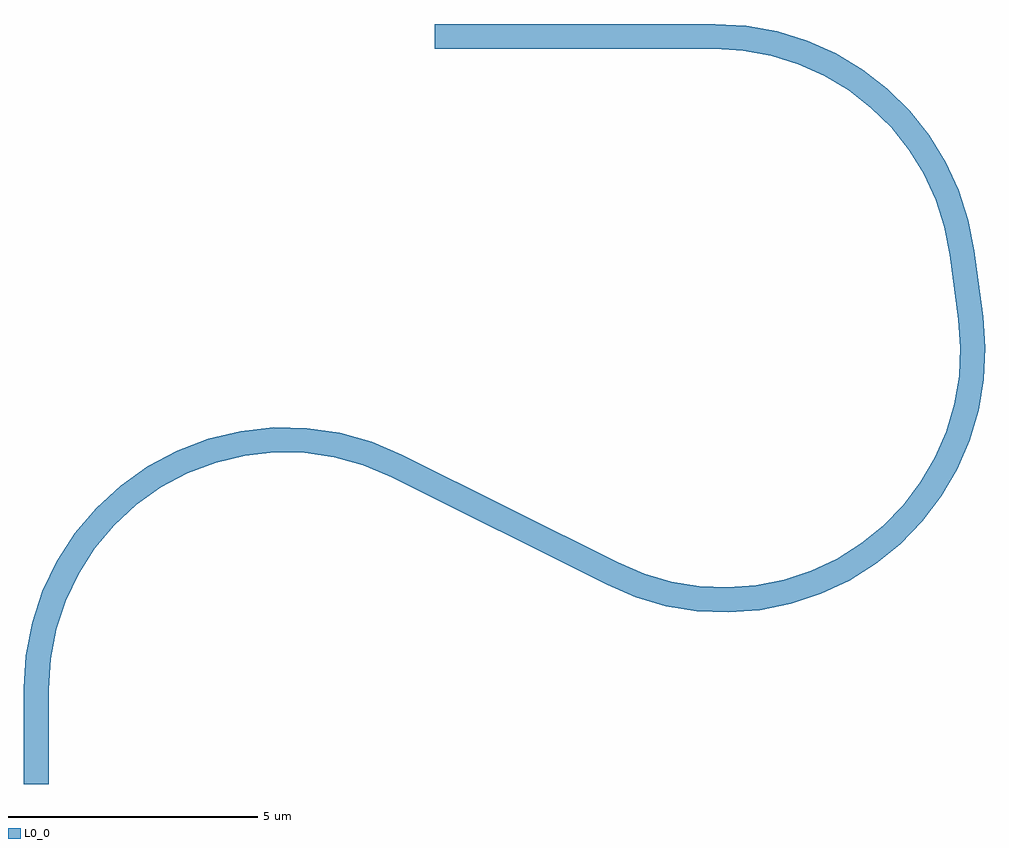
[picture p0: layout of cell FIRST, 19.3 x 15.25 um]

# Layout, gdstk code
import gdstk
lib = gdstk.Library(unit=1e-6, precision=1e-09)
L0_0 = (0, 0)

first = lib.new_cell('FIRST')
first.add(gdstk.FlexPath([(0,0),(0,1.91),(0.04,2.544),(0.161,3.168),(0.359,3.771),(0.633,4.345),(0.977,4.879),(1.386,5.365),(1.853,5.795),(2.371,6.163),(2.932,6.462),(3.526,6.688),(4.144,6.836),(4.775,6.905),(5.41,6.893),(6.039,6.801),(6.651,6.629),(7.236,6.382),(11.561,4.22),(12.114,3.983),(12.692,3.815),(13.285,3.718),(13.886,3.693),(14.486,3.739),(15.076,3.858),(15.647,4.047),(16.192,4.303),(16.701,4.622),(17.169,5),(17.588,5.432),(17.952,5.911),(18.256,6.43),(18.495,6.982),(18.667,7.559),(18.768,8.152),(18.796,8.753),(18.753,9.353),(18.579,10.661),(18.464,11.249),(18.28,11.819),(18.029,12.362),(17.715,12.872),(17.342,13.341),(16.916,13.762),(16.443,14.129),(15.929,14.436),(15.382,14.68),(14.81,14.857),(14.22,14.964),(13.622,15),(8,15)], 0.5, ends="flush", simple_path=True, layer=0, datatype=0))  # L0_0

lib.write_gds('FIRST.gds')
